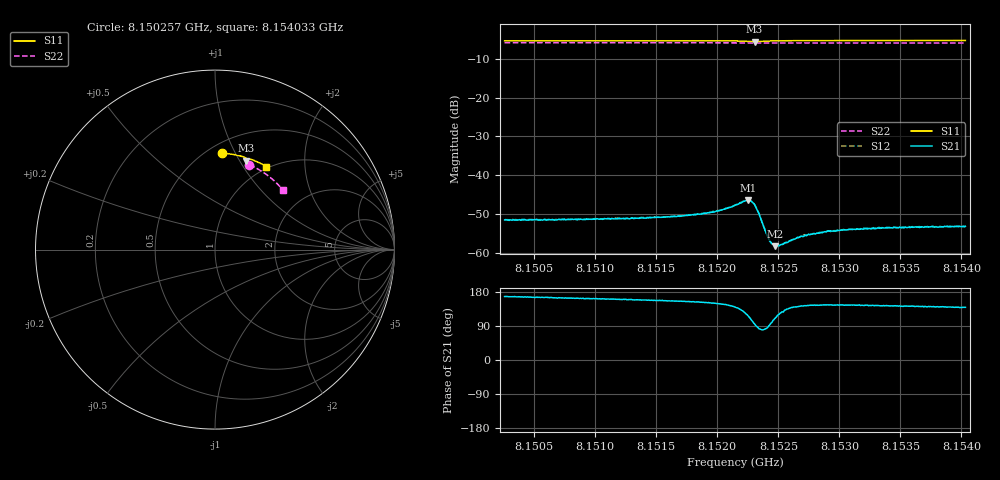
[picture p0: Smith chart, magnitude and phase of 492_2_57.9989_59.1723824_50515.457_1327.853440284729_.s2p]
#  HZ  S  RI  R  50.00
! Rohde & Schwarz Vector Network Analyzer
! Rohde-Schwarz,ZNB20-2Port,1311601062101988,3.16
! Created: UTC 3/21/2024, 1:12:19 AM
! freq[Hz]  re:S11  im:S11  re:S21  im:S21  re:S12  im:S12  re:S22  im:S22
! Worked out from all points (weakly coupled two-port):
!   401 points, 8.150257 GHz to 8.154033 GHz, reference 50 ohm
!   highest |S21| = -46.45 dB at 8.152249 GHz (marker M1); lowest = -58.3 dB at 8.152475 GHz (marker M2)
!   lowest |S11| = -5.6 dB at 8.152305 GHz (marker M3), VSWR 3.21, Z = 39 + j53.3 ohm
!   |S11| at or under -10 dB: nowhere
!   |S22| runs from -6.0 to -5.9 dB; largest |S21 - S12| = 0.00011
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8.1502572e9  0.041 0.5369  -0.0026 0.000582  -0.00258 0.000619  0.1916 0.4721
8.1508896e9  0.085 0.5329  -0.00257 0.000818  -0.00259 0.00085  0.2284 0.4547
8.151522e9  0.1289 0.5248  -0.00265 0.00111  -0.00263 0.00118  0.2633 0.4342
8.1517485e9  0.1447 0.521  -0.00273 0.00132  -0.00273 0.00137  0.2753 0.4262
8.1518901e9  0.1549 0.5178  -0.00285 0.0015  -0.00287 0.00156  0.2827 0.4212
8.1520317e9  0.1657 0.5137  -0.00299 0.0019  -0.00301 0.00195  0.2901 0.4157
8.152145e9  0.1745 0.5083  -0.00312 0.00266  -0.00311 0.00269  0.2958 0.4114
8.1522488e9  0.1786 0.4982  -0.00224 0.0042  -0.00218 0.00424  0.301 0.4072
8.1522771e9  0.1766 0.4956  -0.00133 0.00444  -0.0013 0.00448  0.3021 0.4059
8.1523054e9  0.1734 0.4954  -0.000363 0.00417  -0.000333 0.00417  0.3034 0.405
8.1523432e9  0.1714 0.4987  0.000419 0.00312  0.000419 0.00312  0.3051 0.4038
8.1523904e9  0.1738 0.5035  0.000281 0.00193  0.00032 0.00198  0.3075 0.4021
8.1524187e9  0.1766 0.5049  3.84e-05 0.00155  7.5e-05 0.00156  0.3088 0.4009
8.152447e9  0.1793 0.5056  -0.000209 0.0013  -0.000219 0.00129  0.3105 0.3999
8.1524753e9  0.1822 0.5062  -0.000436 0.00114  -0.00043 0.00119  0.3118 0.3988
8.1525225e9  0.1866 0.5059  -0.000738 0.00105  -0.000737 0.00102  0.3142 0.397
8.1526735e9  0.1988 0.5033  -0.00124 0.000995  -0.00124 0.001  0.3216 0.3906
8.1527773e9  0.2062 0.5008  -0.00143 0.00101  -0.00141 0.00103  0.3264 0.3864
8.1529189e9  0.2161 0.4971  -0.00156 0.00108  -0.00157 0.00111  0.3332 0.3805
8.153221e9  0.236 0.489  -0.00168 0.00119  -0.00165 0.00123  0.3473 0.3671
8.1534097e9  0.2481 0.4832  -0.00169 0.00128  -0.00165 0.00129  0.3554 0.3586
8.1540327e9  0.2863 0.4628  -0.00166 0.00144  -0.00165 0.00145  0.3813 0.3295
